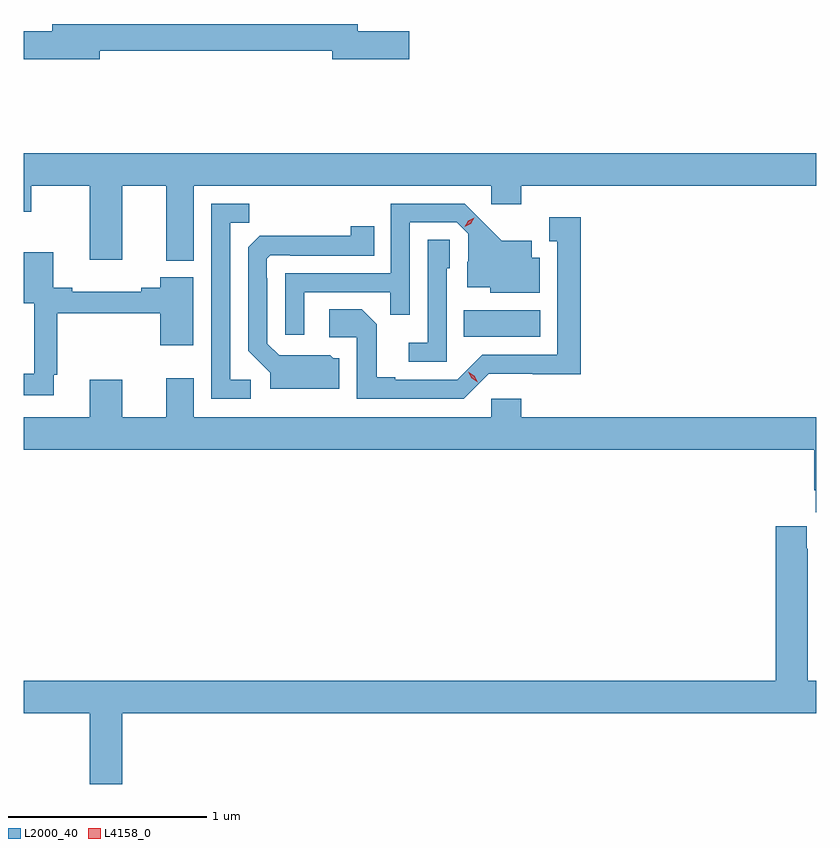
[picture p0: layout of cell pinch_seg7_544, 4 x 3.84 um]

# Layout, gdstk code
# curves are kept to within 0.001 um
import gdstk
lib = gdstk.Library(unit=1e-6, precision=1e-09)
def R(c, l, rs):  # rectangles x0, y0, x1, y1
    for r in rs: c.add(gdstk.rectangle(r[:2], r[2:], *l))
def P(c, l, *ps):  # polygons
    for p in ps: c.add(gdstk.Polygon(p, *l))
L2000_40 = (2000, 40)
L4158_0 = (4158, 0)

pinch_seg7_544 = lib.new_cell('pinch_seg7_544')
R(pinch_seg7_544, L2000_40, [(130.93,1051.802,131.317,1051.936)])
P(pinch_seg7_544, L2000_40, [(129.094,1053.244),(130.268,1053.244),(130.268,1053.202),(130.657,1053.202),(130.657,1053.344),(130.396,1053.344),(130.396,1053.38),(128.855,1053.38),(128.855,1053.344),(128.71,1053.344),(128.71,1053.202),(129.094,1053.202)],
  [(129.568,1052.564),(131.07,1052.564),(131.07,1052.469),(131.222,1052.469),(131.222,1052.564),(132.71,1052.564),(132.71,1052.728),(128.71,1052.728),(128.71,1052.433),(128.749,1052.433),(128.749,1052.564),(129.044,1052.564),(129.044,1052.19),(129.208,1052.19),(129.208,1052.564),(129.428,1052.564),(129.428,1052.186),(129.568,1052.186)],
  [(130.125,1052.025),(130.561,1052.025),(130.561,1051.912),(130.659,1051.912),(130.659,1052.379),(130.896,1052.379),(130.953,1052.322),(130.953,1052.18),(130.949,1052.18),(130.949,1052.051),(131.064,1052.051),(131.064,1052.024),(131.314,1052.024),(131.314,1052.2),(131.275,1052.2),(131.275,1052.287),(131.123,1052.287),(130.936,1052.472),(130.563,1052.472),(130.563,1052.121),(130.029,1052.121),(130.029,1051.812),(130.125,1051.812)],
  [(129.856,1051.584),(129.753,1051.584),(129.753,1052.377),(129.849,1052.377),(129.849,1052.472),(129.657,1052.472),(129.657,1051.488),(129.856,1051.488)],
  [(131.058,1051.614),(131.521,1051.613),(131.521,1052.404),(131.363,1052.404),(131.363,1052.283),(131.402,1052.283),(131.402,1051.71),(131.025,1051.71),(130.899,1051.584),(130.585,1051.584),(130.585,1051.597),(130.491,1051.597),(130.491,1051.864),(130.415,1051.94),(130.251,1051.94),(130.251,1051.8),(130.392,1051.8),(130.392,1051.488),(130.932,1051.488)],
  [(130.303,1051.692),(130.272,1051.692),(130.256,1051.708),(129.999,1051.707),(129.939,1051.767),(129.939,1052.096),(129.936,1052.096),(129.936,1052.196),(129.954,1052.214),(130.054,1052.214),(130.054,1052.211),(130.478,1052.211),(130.478,1052.359),(130.36,1052.359),(130.36,1052.312),(129.902,1052.311),(129.843,1052.252),(129.843,1051.73),(129.953,1051.62),(129.953,1051.538),(130.303,1051.538)],
  [(130.845,1052.148),(130.86,1052.148),(130.86,1052.291),(130.749,1052.291),(130.749,1051.771),(130.653,1051.771),(130.653,1051.674),(130.845,1051.674)],
  [(128.861,1051.609),(128.879,1051.609),(128.879,1051.92),(129.398,1051.92),(129.398,1051.758),(129.565,1051.758),(129.565,1052.101),(129.398,1052.101),(129.398,1052.048),(129.302,1052.048),(129.302,1052.029),(128.956,1052.029),(128.956,1052.048),(128.859,1052.048),(128.859,1052.227),(128.71,1052.227),(128.71,1051.97),(128.762,1051.97),(128.762,1051.615),(128.71,1051.615),(128.71,1051.506),(128.861,1051.506)],
  [(132.71,1051.396),(131.222,1051.396),(131.222,1051.489),(131.07,1051.489),(131.07,1051.396),(129.568,1051.396),(129.568,1051.591),(129.428,1051.591),(129.428,1051.396),(129.208,1051.396),(129.208,1051.585),(129.044,1051.585),(129.044,1051.396),(128.71,1051.396),(128.71,1051.232),(132.701,1051.232),(132.701,1051.027),(132.707,1051.027),(132.707,1050.915),(132.71,1050.915)],
  [(129.208,1049.9),(132.71,1049.9),(132.71,1050.064),(132.666,1050.064),(132.666,1050.731),(132.661,1050.731),(132.661,1050.844),(132.506,1050.844),(132.506,1050.064),(128.71,1050.064),(128.71,1049.9),(129.044,1049.9),(129.044,1049.544),(129.208,1049.544)])
P(pinch_seg7_544, L4158_0, [(131.001,1051.572),(130.97,1051.591),(130.953,1051.624),(130.953,1051.624),(130.953,1051.624),(130.984,1051.605),(131.002,1051.573),(131.002,1051.572)],
  [(130.936,1052.356),(130.936,1052.356),(130.953,1052.386),(130.983,1052.401),(130.984,1052.401),(130.984,1052.401),(130.967,1052.371),(130.936,1052.356)])

lib.write_gds('pinch_seg7_544.gds')
